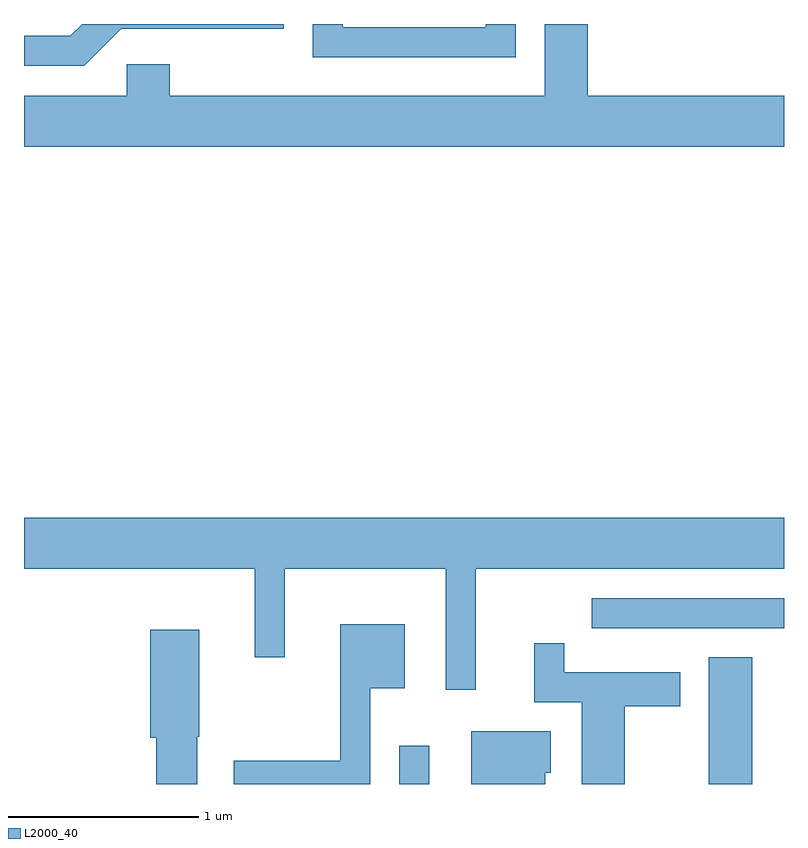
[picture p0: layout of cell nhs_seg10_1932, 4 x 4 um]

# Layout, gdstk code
import gdstk
lib = gdstk.Library(unit=1e-6, precision=1e-09)
def R(c, l, rs):  # rectangles x0, y0, x1, y1
    for r in rs: c.add(gdstk.rectangle(r[:2], r[2:], *l))
def P(c, l, *ps):  # polygons
    for p in ps: c.add(gdstk.Polygon(p, *l))
L2000_40 = (2000, 40)

nhs_seg10_1932 = lib.new_cell('nhs_seg10_1932')
R(nhs_seg10_1932, L2000_40, [(243.586,2150.522,243.744,2150.723), (245.216,2150.522,245.444,2151.189), (244.598,2151.341,245.611,2151.499)])
P(nhs_seg10_1932, L2000_40, [(245.611,2154.144),(244.579,2154.144),(244.579,2154.522),(244.351,2154.522),(244.351,2154.144),(242.379,2154.144),(242.379,2154.309),(242.151,2154.309),(242.151,2154.144),(241.611,2154.144),(241.611,2153.876),(245.611,2153.876)],
  [(244.199,2154.522),(244.041,2154.522),(244.041,2154.504),(243.289,2154.504),(243.289,2154.522),(243.131,2154.522),(243.131,2154.346),(244.199,2154.346)],
  [(242.122,2154.496),(242.979,2154.496),(242.979,2154.522),(241.917,2154.522),(241.854,2154.459),(241.611,2154.459),(241.611,2154.301),(241.927,2154.301)],
  [(243.989,2151.656),(245.611,2151.656),(245.611,2151.924),(241.611,2151.924),(241.611,2151.656),(242.826,2151.656),(242.826,2151.188),(242.984,2151.188),(242.984,2151.656),(243.831,2151.656),(243.831,2151.018),(243.989,2151.018)],
  [(243.434,2151.026),(243.614,2151.026),(243.614,2151.364),(243.276,2151.364),(243.276,2150.644),(242.716,2150.644),(242.716,2150.522),(243.434,2150.522)],
  [(242.524,2150.77),(242.534,2150.77),(242.534,2151.334),(242.276,2151.334),(242.276,2150.766),(242.306,2150.766),(242.306,2150.522),(242.524,2150.522)],
  [(244.774,2150.931),(245.064,2150.931),(245.064,2151.109),(244.454,2151.109),(244.454,2151.263),(244.296,2151.263),(244.296,2150.951),(244.546,2150.951),(244.546,2150.522),(244.774,2150.522)],
  [(244.354,2150.581),(244.384,2150.581),(244.384,2150.799),(243.966,2150.799),(243.966,2150.522),(244.354,2150.522)])

lib.write_gds('nhs_seg10_1932.gds')
